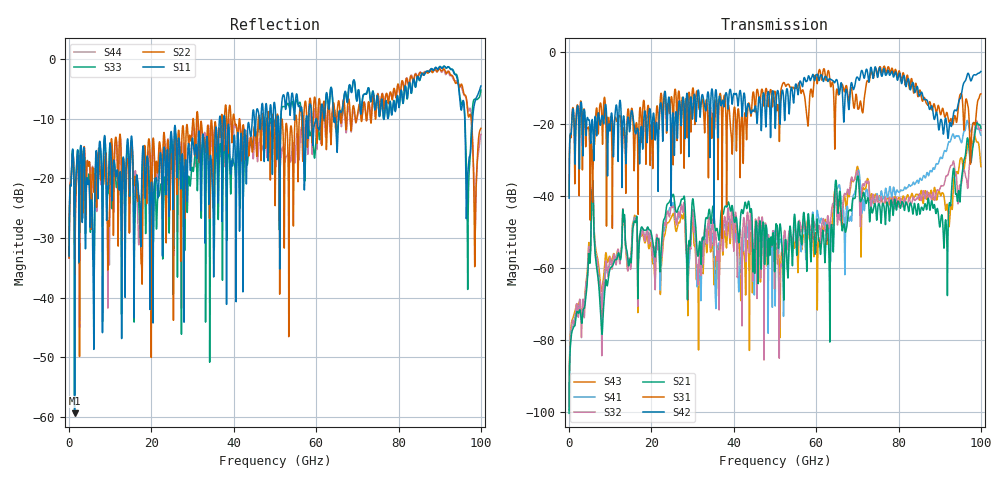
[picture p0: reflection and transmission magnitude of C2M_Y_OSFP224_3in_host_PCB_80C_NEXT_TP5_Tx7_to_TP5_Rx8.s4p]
# GHz S RI R 45
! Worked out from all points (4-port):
!   4000 points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, 25 MHz to 100 GHz, reference 45 ohm
!   strongest paths, dB at 25 MHz, 25.02 GHz, 50.02 GHz, 75.03 GHz, 100 GHz:
!     S42: -40.5, -19.1, -19.7, -6.5, -5.3
!     S31: -40.1, -13.3, -10.9, -6.3, -11.5
!     S21: -100.4, -40.1, -55.2, -42.7, -21.0
!     S32: -98.6, -42.9, -54.7, -41.2, -21.7
!     S41: -99.5, -42.7, -63.5, -40.3, -23.0
!     S43: -97.8, -45.5, -56.3, -41.0, -31.8
!   lowest |S11| = -59.4 dB at 1.35 GHz (marker M1), VSWR 1.00, Z = 44.9 - j0.0541 ohm
!   |S11| at or under -10 dB: start of sweep to 36.53 GHz; 37.83 GHz to 44.49 GHz (6.656 GHz wide, 16.2 % of centre); 96.08 GHz to 98 GHz (1.925 GHz wide, 1.98 % of centre)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
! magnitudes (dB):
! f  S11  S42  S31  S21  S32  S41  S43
! 25 MHz  -33.0  -40.5  -40.1  -100.4  -98.6  -99.5  -97.8
! 1.35 GHz  -59.4  -24.3  -29.9  -76.1  -76.1  -73.8  -72.4
! 5.75 GHz  -32.6  -20.5  -37.7  -36.6  -36.6  -36.5  -36.5
! 8 GHz  -21.9  -17.6  -19.3  -78.4  -77.4  -70.8  -65.9
! 51.3 GHz  -14.4  -18.5  -13.2  -47.8  -61.1  -52.0  -67.1
! 91.47 GHz  -1.5  -18.3  -17.5  -46.6  -34.6  -27.5  -43.9
! 100 GHz  -4.5  -5.3  -11.5  -21.0  -21.7  -23.0  -31.8
